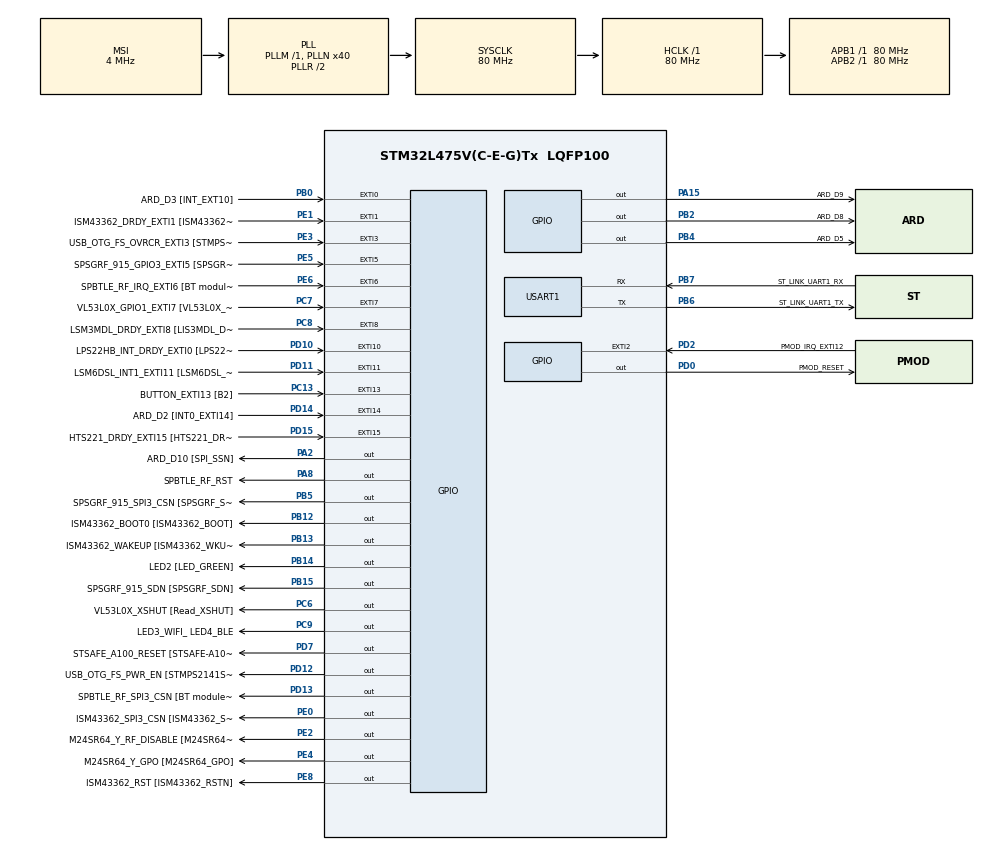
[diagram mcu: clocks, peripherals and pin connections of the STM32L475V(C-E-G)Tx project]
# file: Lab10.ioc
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FREERTOS.Queues01=myQueue,5,long,0,Dynamic,NULL,NULL
FREERTOS.Tasks01=Thread1,0,128,SenderThread,Default,(void *)&data1,Dynamic,NULL,NULL;Thread2,0,128,SenderThread,Default,(void *)&data2,Dynamic,NULL,NULL;Thread3,1,128,ReceiverThread,Default,NULL,Dynamic,NULL,NULL
Mcu.Family=STM32L4
Mcu.Name=STM32L475V(C-E-G)Tx
Mcu.Package=LQFP100
NVIC.EXTI15_10_IRQn=true\:5\:0\:false\:false\:true\:true\:true\:true
NVIC.EXTI9_5_IRQn=true\:5\:0\:false\:false\:true\:true\:true\:true
NVIC.PriorityGroup=NVIC_PRIORITYGROUP_4
PA0.GPIO_Label=ARD_D1 [UART4_TX]
PA0.Signal=UART4_TX
PA1.GPIO_Label=ARD_D0 [UART4_RX]
PA1.Signal=UART4_RX
PA10.GPIO_Label=USB_OTG_FS_ID
PA10.Signal=USB_OTG_FS_ID
PA11.GPIO_Label=USB_OTG_FS_DM
PA11.Signal=USB_OTG_FS_DM
PA12.GPIO_Label=USB_OTG_FS_DP
PA12.Signal=USB_OTG_FS_DP
PA13\ (JTMS-SWDIO).GPIO_Label=SYS_JTMS_SWDIO
PA13\ (JTMS-SWDIO).Mode=Serial_Wire
PA13\ (JTMS-SWDIO).Signal=SYS_JTMS-SWDIO
PA14\ (JTCK-SWCLK).GPIO_Label=SYS_JTCK_SWCLK
PA14\ (JTCK-SWCLK).Mode=Serial_Wire
PA14\ (JTCK-SWCLK).Signal=SYS_JTCK-SWCLK
PA15\ (JTDI).GPIO_Label=ARD_D9
PA15\ (JTDI).Signal=GPIO_Output
PA2.GPIO_Label=ARD_D10 [SPI_SSN]
PA2.Signal=GPIO_Output
PA3.GPIO_Label=ARD_D4
PA3.Signal=S_TIM2_CH4
PA4.GPIO_Label=ARD_D7
PA4.Signal=ADCx_IN9
PA5.GPIO_Label=ARD_D13 [SPI1_SCK]
PA5.Signal=SPI1_SCK
PA6.GPIO_Label=ARD_D12 [SPI1_MISO]
PA6.Signal=SPI1_MISO
PA7.GPIO_Label=ARD_D11 [SPI1_MOSI]
PA7.Signal=SPI1_MOSI
PA8.GPIO_Label=SPBTLE_RF_RST
PA8.Signal=GPIO_Output
PA9.GPIO_Label=USB_OTG_FS_VBUS [STMPS2141STR_OUT]
PA9.Signal=USB_OTG_FS_VBUS
PB0.GPIO_Label=ARD_D3 [INT_EXT10]
PB0.Signal=GPXTI0
PB1.GPIO_Label=ARD_D6 [ADC1_IN6]
PB1.Signal=ADCx_IN16
PB10.GPIO_Label=INTERNAL_I2C2_SCL [VL53L0X_SCL]
PB10.Signal=I2C2_SCL
PB11.GPIO_Label=INTERNAL_I2C2_SDA [VL53L0X_SDA]
PB11.Signal=I2C2_SDA
PB12.GPIO_Label=ISM43362_BOOT0 [ISM43362_BOOT]
PB12.Signal=GPIO_Output
PB13.GPIO_Label=ISM43362_WAKEUP [ISM43362_WKUP]
PB13.Signal=GPIO_Output
PB14.GPIO_Label=LED2 [LED_GREEN]
PB14.Signal=GPIO_Output
PB15.GPIO_Label=SPSGRF_915_SDN [SPSGRF_SDN]
PB15.Signal=GPIO_Output
PB2.GPIO_Label=ARD_D8
PB2.Signal=GPIO_Output
PB3\ (JTDO-TRACESWO).GPIO_Label=SYS_JTD0_SWO
PB3\ (JTDO-TRACESWO).Signal=SYS_JTDO-SWO
PB4\ (NJTRST).GPIO_Label=ARD_D5
PB4\ (NJTRST).Signal=GPIO_Output
PB5.GPIO_Label=SPSGRF_915_SPI3_CSN [SPSGRF_SPI_CS]
PB5.PinState=GPIO_PIN_SET
PB5.Signal=GPIO_Output
PB6.GPIO_Label=ST_LINK_UART1_TX
PB6.Mode=Asynchronous
PB6.Signal=USART1_TX
PB7.GPIO_Label=ST_LINK_UART1_RX
PB7.Mode=Asynchronous
PB7.Signal=USART1_RX
PB8.GPIO_Label=ARD_D15 [I2C1_SCL]
PB8.Signal=I2C1_SCL
PB9.GPIO_Label=ARD_D14 [I2C1_SDA]
PB9.Signal=I2C1_SDA
PC0.GPIO_Label=ARD_A5 [ADC]
PC0.Signal=ADCx_IN1
PC1.GPIO_Label=ARD_A4 [ADC]
PC1.Signal=ADCx_IN2
PC10.GPIO_Label=INTERNAL_SPI3_SCK [BT module_SPI_SCLK] [ISM43362_SCK]
PC10.Signal=SPI3_SCK
PC11.GPIO_Label=INTERNAL_SPI3_MISO [BT module_SPI_MISO] [ISM43362_MISO]
PC11.Signal=SPI3_MISO
PC12.GPIO_Label=INTERNAL_SPI3_MOSI [BT module_SPI_MOSI] [ISM43362_MOSI]
PC12.Signal=SPI3_MOSI
PC13.GPIO_Label=BUTTON_EXTI13 [B2]
PC13.GPIO_ModeDefaultEXTI=GPIO_MODE_IT_FALLING
PC13.Signal=GPXTI13
PC14-OSC32_IN\ (PC14).Signal=RCC_OSC32_IN
PC15-OSC32_OUT\ (PC15).Signal=RCC_OSC32_OUT
PC2.GPIO_Label=ARD_A3 [ADC]
PC2.Signal=ADCx_IN3
PC3.GPIO_Label=ARD_A2 [ADC]
PC3.Signal=ADCx_IN4
PC4.GPIO_Label=ARD_A1 [ADC]
PC4.Signal=ADCx_IN13
PC5.GPIO_Label=ARD_A0 [ADC]
PC5.Signal=ADCx_IN14
PC6.GPIO_Label=VL53L0X_XSHUT [Read_XSHUT]
PC6.Signal=GPIO_Output
PC7.GPIO_Label=VL53L0X_GPIO1_EXTI7 [VL53L0X_GPIO1]
PC7.Signal=GPXTI7
PC8.GPIO_Label=LSM3MDL_DRDY_EXTI8 [LIS3MDL_DRDY]
PC8.Signal=GPXTI8
PC9.GPIO_Label=LED3_WIFI_ LED4_BLE
PC9.Signal=GPIO_Output
PD0.GPIO_Label=PMOD_RESET
PD0.Signal=GPIO_Output
PD1.GPIO_Label=PMOD_SPI2_SCK
PD1.Signal=SPI2_SCK
PD10.GPIO_Label=LPS22HB_INT_DRDY_EXTI0 [LPS22HB_INT_DRDY] 
PD10.Signal=GPXTI10
PD11.GPIO_Label=LSM6DSL_INT1_EXTI11 [LSM6DSL_INT1]
PD11.Signal=GPXTI11
PD12.GPIO_Label=USB_OTG_FS_PWR_EN [STMPS2141STR_EN]
PD12.Signal=GPIO_Output
PD13.GPIO_Label=SPBTLE_RF_SPI3_CSN [BT module_SPI_CS]
PD13.PinState=GPIO_PIN_SET
PD13.Signal=GPIO_Output
PD14.GPIO_Label=ARD_D2 [INT0_EXTI14]
PD14.Signal=GPXTI14
PD15.GPIO_Label=HTS221_DRDY_EXTI15 [HTS221_DRDY]
PD15.Signal=GPXTI15
PD2.GPIO_Label=PMOD_IRQ_EXTI12
PD2.Signal=GPXTI2
PD3.GPIO_Label=PMOD_UART2_CTS
PD3.Signal=USART2_CTS
PD4.GPIO_Label=PMOD_UART2_RTS
PD4.Signal=USART2_RTS
PD5.GPIO_Label=PMOD_UART2_TX
PD5.Signal=USART2_TX
PD6.GPIO_Label=PMOD_UART2_RX
PD6.Signal=USART2_RX
PD7.GPIO_Label=STSAFE_A100_RESET [STSAFE-A100_RESET]
PD7.Signal=GPIO_Output
PD8.GPIO_Label=INTERNAL_UART3_TX [ISM43362_RX]
PD8.Signal=USART3_TX
PD9.GPIO_Label=INTERNAL_UART3_RX [ISM43362_TX]
PD9.Signal=USART3_RX
PE0.GPIO_Label=ISM43362_SPI3_CSN [ISM43362_SSN]
PE0.PinState=GPIO_PIN_SET
PE0.Signal=GPIO_Output
PE1.GPIO_Label=ISM43362_DRDY_EXTI1 [ISM43362_DATARDY]
PE1.Signal=GPXTI1
PE10.GPIO_Label=QUADSPI_CLK [MX25R6435F_SCLK]
PE10.Signal=QUADSPI_CLK
PE11.GPIO_Label=QUADSPI_NCS [MX25R6435F_SCLK]
PE11.Signal=QUADSPI_NCS
PE12.GPIO_Label=OQUADSPI_BK1_IO0 [MX25R6435F_IO0]
PE12.Signal=QUADSPI_BK1_IO0
PE13.GPIO_Label=QUADSPI_BK1_IO1 [MX25R6435F_IO1]
PE13.Signal=QUADSPI_BK1_IO1
PE14.GPIO_Label=QUAD_SPI_BK1_IO2 [MX25R6435F_IO2]
PE14.Signal=QUADSPI_BK1_IO2
PE15.GPIO_Label=QUAD_SPI_BK1_IO3 [MX25R6435F_IO3]
PE15.Signal=QUADSPI_BK1_IO3
PE2.GPIO_Label=M24SR64_Y_RF_DISABLE [M24SR64_RFDIS]
PE2.Signal=GPIO_Output
PE3.GPIO_Label=USB_OTG_FS_OVRCR_EXTI3 [STMPS2141STR_FAULT]
PE3.Signal=GPXTI3
PE4.GPIO_Label=M24SR64_Y_GPO [M24SR64_GPO]
PE4.Signal=GPIO_Output
PE5.GPIO_Label=SPSGRF_915_GPIO3_EXTI5 [SPSGRF_GPIO_3]
PE5.Signal=GPXTI5
PE6.GPIO_Label=SPBTLE_RF_IRQ_EXTI6 [BT module_SPI_IRQ]
PE6.Signal=GPXTI6
PE7.GPIO_Label=DFSDM1_DATIN2 [MP34DT01_DOUT]
PE7.Signal=S_DATAIN2DFSDM1
PE8.GPIO_Label=ISM43362_RST [ISM43362_RSTN]
PE8.Signal=GPIO_Output
PE9.GPIO_Label=DFSDM1_CKOUT [MP34DT01_CLK]
PE9.Signal=S_CKOUTDFSDM1
ProjectManager.HeapSize=0x200
ProjectManager.StackSize=0x400
ProjectManager.TargetToolchain=MDK-ARM V5.27
RCC.ADCFreq_Value=48000000
RCC.AHBFreq_Value=80000000
RCC.APB1Freq_Value=80000000
RCC.APB1TimFreq_Value=80000000
RCC.APB2Freq_Value=80000000
RCC.APB2TimFreq_Value=80000000
RCC.CortexFreq_Value=80000000
RCC.HCLKFreq_Value=80000000
RCC.HSE_VALUE=8000000
RCC.HSI_VALUE=16000000
RCC.LSE_VALUE=32768
RCC.MSI_VALUE=4000000
RCC.PLLN=40
RCC.PLLSAI1N=24
RCC.SYSCLKFreq_VALUE=80000000
RCC.SYSCLKSource=RCC_SYSCLKSOURCE_PLLCLK
RCC.USBFreq_Value=48000000
RCC.VCOOutputFreq_Value=160000000
SH.ADCx_IN1.0=ADC1_IN1
SH.ADCx_IN13.0=ADC1_IN13
SH.ADCx_IN14.0=ADC1_IN14
SH.ADCx_IN16.0=ADC1_IN16
SH.ADCx_IN2.0=ADC1_IN2
SH.ADCx_IN3.0=ADC1_IN3
SH.ADCx_IN4.0=ADC1_IN4
SH.ADCx_IN9.0=ADC1_IN9
SH.S_CKOUTDFSDM1.0=DFSDM1_CKOUT
SH.S_DATAIN2DFSDM1.0=DFSDM1_DATIN2
SH.S_TIM2_CH4.0=TIM2_CH4
USART1.VirtualMode-Asynchronous=VM_ASYNC
VP_FREERTOS_VS_CMSIS_V1.Mode=CMSIS_V1
board=B-L475E-IOT01A1

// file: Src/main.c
/* USER CODE BEGIN Header */
/**
  ******************************************************************************
  * @file           : main.c
  * @brief          : Main program body
  ******************************************************************************
  * @attention
  *
  * <h2><center>&copy; Copyright (c) 2020 STMicroelectronics.
  * All rights reserved.</center></h2>
  *
  * This software component is licensed by ST under Ultimate Liberty license
  * SLA0044, the "License"; You may not use this file except in compliance with
  * the License. You may obtain a copy of the License at:
  *                             www.st.com/SLA0044
  *
  ******************************************************************************
  */
/* USER CODE END Header */

#include "main.h"
#include "cmsis_os.h"

/* USER CODE BEGIN Includes */
#include "stdio.h"
/* USER CODE END Includes */

UART_HandleTypeDef huart1;

osThreadId Thread1Handle;
osThreadId Thread2Handle;
osThreadId Thread3Handle;
osMessageQId myQueueHandle;
/* USER CODE BEGIN PV */
long data1 = 100;
long data2 = 200;
/* USER CODE END PV */

void SystemClock_Config(void);
static void MX_GPIO_Init(void);
static void MX_USART1_UART_Init(void);
void SenderThread(void const * argument);
void ReceiverThread(void const * argument);

/* USER CODE BEGIN PFP */
#ifdef __GNUC__
#define PUTCHAR_PROTOTYPE int __io_putchar(int ch)
#else
#define PUTCHAR_PROTOTYPE int fputc(int ch, FILE *f)
#endif /* __GNUC__ */
/* USER CODE END PFP */

/* USER CODE BEGIN 0 */
PUTCHAR_PROTOTYPE
{
  /* e.g. write a character to the USART1 and Loop until the end of transmission */
  HAL_UART_Transmit(&huart1, (uint8_t *)&ch, 1, 0xFFFF);

  return ch;
}
/* USER CODE END 0 */

int main(void)
{

  /* MCU Configuration--------------------------------------------------------*/

  /* Reset of all peripherals, Initializes the Flash interface and the Systick. */
  HAL_Init();

  /* Configure the system clock */
  SystemClock_Config();

  /* Initialize all configured peripherals */
  MX_GPIO_Init();
  MX_USART1_UART_Init();
  /* USER CODE BEGIN 2 */
	printf("\n\rFreeRTOS Lab 10\n\r");
  /* USER CODE END 2 */

  /* Create the queue(s) */
  /* definition and creation of myQueue */
  osMessageQDef(myQueue, 5, long);
  myQueueHandle = osMessageCreate(osMessageQ(myQueue), NULL);

  /* Create the thread(s) */
  /* definition and creation of Thread1 */
  osThreadDef(Thread1, SenderThread, osPriorityNormal, 0, 128);
  Thread1Handle = osThreadCreate(osThread(Thread1), (void *)&data1);

  /* definition and creation of Thread2 */
  osThreadDef(Thread2, SenderThread, osPriorityNormal, 0, 128);
  Thread2Handle = osThreadCreate(osThread(Thread2), (void *)&data2);

  /* definition and creation of Thread3 */
  osThreadDef(Thread3, ReceiverThread, osPriorityAboveNormal, 0, 128);
  Thread3Handle = osThreadCreate(osThread(Thread3), NULL);

  /* Start scheduler */
  osKernelStart();

  /* We should never get here as control is now taken by the scheduler */
  /* Infinite loop */
  while (1)
  {

  }
}

void SystemClock_Config(void)
{
  RCC_OscInitTypeDef RCC_OscInitStruct = {0};
  RCC_ClkInitTypeDef RCC_ClkInitStruct = {0};
  RCC_PeriphCLKInitTypeDef PeriphClkInit = {0};

  /** Initializes the CPU, AHB and APB busses clocks
  */
  RCC_OscInitStruct.OscillatorType = RCC_OSCILLATORTYPE_MSI;
  RCC_OscInitStruct.MSIState = RCC_MSI_ON;
  RCC_OscInitStruct.MSICalibrationValue = 0;
  RCC_OscInitStruct.MSIClockRange = RCC_MSIRANGE_6;
  RCC_OscInitStruct.PLL.PLLState = RCC_PLL_ON;
  RCC_OscInitStruct.PLL.PLLSource = RCC_PLLSOURCE_MSI;
  RCC_OscInitStruct.PLL.PLLM = 1;
  RCC_OscInitStruct.PLL.PLLN = 40;
  RCC_OscInitStruct.PLL.PLLP = RCC_PLLP_DIV7;
  RCC_OscInitStruct.PLL.PLLQ = RCC_PLLQ_DIV2;
  RCC_OscInitStruct.PLL.PLLR = RCC_PLLR_DIV2;
  if (HAL_RCC_OscConfig(&RCC_OscInitStruct) != HAL_OK)
  {
    Error_Handler();
  }
  /** Initializes the CPU, AHB and APB busses clocks
  */
  RCC_ClkInitStruct.ClockType = RCC_CLOCKTYPE_HCLK|RCC_CLOCKTYPE_SYSCLK
                              |RCC_CLOCKTYPE_PCLK1|RCC_CLOCKTYPE_PCLK2;
  RCC_ClkInitStruct.SYSCLKSource = RCC_SYSCLKSOURCE_PLLCLK;
  RCC_ClkInitStruct.AHBCLKDivider = RCC_SYSCLK_DIV1;
  RCC_ClkInitStruct.APB1CLKDivider = RCC_HCLK_DIV1;
  RCC_ClkInitStruct.APB2CLKDivider = RCC_HCLK_DIV1;

  if (HAL_RCC_ClockConfig(&RCC_ClkInitStruct, FLASH_LATENCY_4) != HAL_OK)
  {
    Error_Handler();
  }
  PeriphClkInit.PeriphClockSelection = RCC_PERIPHCLK_USART1;
  PeriphClkInit.Usart1ClockSelection = RCC_USART1CLKSOURCE_PCLK2;
  if (HAL_RCCEx_PeriphCLKConfig(&PeriphClkInit) != HAL_OK)
  {
    Error_Handler();
  }
  /** Configure the main internal regulator output voltage
  */
  if (HAL_PWREx_ControlVoltageScaling(PWR_REGULATOR_VOLTAGE_SCALE1) != HAL_OK)
  {
    Error_Handler();
  }
}

static void MX_USART1_UART_Init(void)
{

  huart1.Instance = USART1;
  huart1.Init.BaudRate = 115200;
  huart1.Init.WordLength = UART_WORDLENGTH_8B;
  huart1.Init.StopBits = UART_STOPBITS_1;
  huart1.Init.Parity = UART_PARITY_NONE;
  huart1.Init.Mode = UART_MODE_TX_RX;
  huart1.Init.HwFlowCtl = UART_HWCONTROL_NONE;
  huart1.Init.OverSampling = UART_OVERSAMPLING_16;
  huart1.Init.OneBitSampling = UART_ONE_BIT_SAMPLE_DISABLE;
  huart1.AdvancedInit.AdvFeatureInit = UART_ADVFEATURE_NO_INIT;
  if (HAL_UART_Init(&huart1) != HAL_OK)
  {
    Error_Handler();
  }

}

static void MX_GPIO_Init(void)
{
  GPIO_InitTypeDef GPIO_InitStruct = {0};

  /* GPIO Ports Clock Enable */
  __HAL_RCC_GPIOE_CLK_ENABLE();
  __HAL_RCC_GPIOC_CLK_ENABLE();
  __HAL_RCC_GPIOA_CLK_ENABLE();
  __HAL_RCC_GPIOB_CLK_ENABLE();
  __HAL_RCC_GPIOD_CLK_ENABLE();

  /*Configure GPIO pin Output Level */
  HAL_GPIO_WritePin(GPIOE, M24SR64_Y_RF_DISABLE_Pin|M24SR64_Y_GPO_Pin|ISM43362_RST_Pin, GPIO_PIN_RESET);

  /*Configure GPIO pin Output Level */
  HAL_GPIO_WritePin(GPIOA, ARD_D10_Pin|SPBTLE_RF_RST_Pin|ARD_D9_Pin, GPIO_PIN_RESET);

  /*Configure GPIO pin Output Level */
  HAL_GPIO_WritePin(GPIOB, ARD_D8_Pin|ISM43362_BOOT0_Pin|ISM43362_WAKEUP_Pin|LED2_Pin
                          |SPSGRF_915_SDN_Pin|ARD_D5_Pin, GPIO_PIN_RESET);

  /*Configure GPIO pin Output Level */
  HAL_GPIO_WritePin(GPIOD, USB_OTG_FS_PWR_EN_Pin|PMOD_RESET_Pin|STSAFE_A100_RESET_Pin, GPIO_PIN_RESET);

  /*Configure GPIO pin Output Level */
  HAL_GPIO_WritePin(SPBTLE_RF_SPI3_CSN_GPIO_Port, SPBTLE_RF_SPI3_CSN_Pin, GPIO_PIN_SET);

  /*Configure GPIO pin Output Level */
  HAL_GPIO_WritePin(GPIOC, VL53L0X_XSHUT_Pin|LED3_WIFI__LED4_BLE_Pin, GPIO_PIN_RESET);

  /*Configure GPIO pin Output Level */
  HAL_GPIO_WritePin(SPSGRF_915_SPI3_CSN_GPIO_Port, SPSGRF_915_SPI3_CSN_Pin, GPIO_PIN_SET);

  /*Configure GPIO pin Output Level */
  HAL_GPIO_WritePin(ISM43362_SPI3_CSN_GPIO_Port, ISM43362_SPI3_CSN_Pin, GPIO_PIN_SET);

  /*Configure GPIO pins : M24SR64_Y_RF_DISABLE_Pin M24SR64_Y_GPO_Pin ISM43362_RST_Pin ISM43362_SPI3_CSN_Pin */
  GPIO_InitStruct.Pin = M24SR64_Y_RF_DISABLE_Pin|M24SR64_Y_GPO_Pin|ISM43362_RST_Pin|ISM43362_SPI3_CSN_Pin;
  GPIO_InitStruct.Mode = GPIO_MODE_OUTPUT_PP;
  GPIO_InitStruct.Pull = GPIO_NOPULL;
  GPIO_InitStruct.Speed = GPIO_SPEED_FREQ_LOW;
  HAL_GPIO_Init(GPIOE, &GPIO_InitStruct);

  /*Configure GPIO pins : USB_OTG_FS_OVRCR_EXTI3_Pin SPSGRF_915_GPIO3_EXTI5_Pin SPBTLE_RF_IRQ_EXTI6_Pin ISM43362_DRDY_EXTI1_Pin */
  GPIO_InitStruct.Pin = USB_OTG_FS_OVRCR_EXTI3_Pin|SPSGRF_915_GPIO3_EXTI5_Pin|SPBTLE_RF_IRQ_EXTI6_Pin|ISM43362_DRDY_EXTI1_Pin;
  GPIO_InitStruct.Mode = GPIO_MODE_IT_RISING;
  GPIO_InitStruct.Pull = GPIO_NOPULL;
  HAL_GPIO_Init(GPIOE, &GPIO_InitStruct);

  /*Configure GPIO pin : BUTTON_EXTI13_Pin */
  GPIO_InitStruct.Pin = BUTTON_EXTI13_Pin;
  GPIO_InitStruct.Mode = GPIO_MODE_IT_FALLING;
  GPIO_InitStruct.Pull = GPIO_NOPULL;
  HAL_GPIO_Init(BUTTON_EXTI13_GPIO_Port, &GPIO_InitStruct);

  /*Configure GPIO pins : ARD_A5_Pin ARD_A4_Pin ARD_A3_Pin ARD_A2_Pin
                           ARD_A1_Pin ARD_A0_Pin */
  GPIO_InitStruct.Pin = ARD_A5_Pin|ARD_A4_Pin|ARD_A3_Pin|ARD_A2_Pin
                          |ARD_A1_Pin|ARD_A0_Pin;
  GPIO_InitStruct.Mode = GPIO_MODE_ANALOG_ADC_CONTROL;
  GPIO_InitStruct.Pull = GPIO_NOPULL;
  HAL_GPIO_Init(GPIOC, &GPIO_InitStruct);

  /*Configure GPIO pins : ARD_D1_Pin ARD_D0_Pin */
  GPIO_InitStruct.Pin = ARD_D1_Pin|ARD_D0_Pin;
  GPIO_InitStruct.Mode = GPIO_MODE_AF_PP;
  GPIO_InitStruct.Pull = GPIO_NOPULL;
  GPIO_InitStruct.Speed = GPIO_SPEED_FREQ_VERY_HIGH;
  GPIO_InitStruct.Alternate = GPIO_AF8_UART4;
  HAL_GPIO_Init(GPIOA, &GPIO_InitStruct);

  /*Configure GPIO pins : ARD_D10_Pin SPBTLE_RF_RST_Pin ARD_D9_Pin */
  GPIO_InitStruct.Pin = ARD_D10_Pin|SPBTLE_RF_RST_Pin|ARD_D9_Pin;
  GPIO_InitStruct.Mode = GPIO_MODE_OUTPUT_PP;
  GPIO_InitStruct.Pull = GPIO_NOPULL;
  GPIO_InitStruct.Speed = GPIO_SPEED_FREQ_LOW;
  HAL_GPIO_Init(GPIOA, &GPIO_InitStruct);

  /*Configure GPIO pin : ARD_D4_Pin */
  GPIO_InitStruct.Pin = ARD_D4_Pin;
  GPIO_InitStruct.Mode = GPIO_MODE_AF_PP;
  GPIO_InitStruct.Pull = GPIO_NOPULL;
  GPIO_InitStruct.Speed = GPIO_SPEED_FREQ_LOW;
  GPIO_InitStruct.Alternate = GPIO_AF1_TIM2;
  HAL_GPIO_Init(ARD_D4_GPIO_Port, &GPIO_InitStruct);

  /*Configure GPIO pin : ARD_D7_Pin */
  GPIO_InitStruct.Pin = ARD_D7_Pin;
  GPIO_InitStruct.Mode = GPIO_MODE_ANALOG_ADC_CONTROL;
  GPIO_InitStruct.Pull = GPIO_NOPULL;
  HAL_GPIO_Init(ARD_D7_GPIO_Port, &GPIO_InitStruct);

  /*Configure GPIO pins : ARD_D13_Pin ARD_D12_Pin ARD_D11_Pin */
  GPIO_InitStruct.Pin = ARD_D13_Pin|ARD_D12_Pin|ARD_D11_Pin;
  GPIO_InitStruct.Mode = GPIO_MODE_AF_PP;
  GPIO_InitStruct.Pull = GPIO_NOPULL;
  GPIO_InitStruct.Speed = GPIO_SPEED_FREQ_VERY_HIGH;
  GPIO_InitStruct.Alternate = GPIO_AF5_SPI1;
  HAL_GPIO_Init(GPIOA, &GPIO_InitStruct);

  /*Configure GPIO pin : ARD_D3_Pin */
  GPIO_InitStruct.Pin = ARD_D3_Pin;
  GPIO_InitStruct.Mode = GPIO_MODE_IT_RISING;
  GPIO_InitStruct.Pull = GPIO_NOPULL;
  HAL_GPIO_Init(ARD_D3_GPIO_Port, &GPIO_InitStruct);

  /*Configure GPIO pin : ARD_D6_Pin */
  GPIO_InitStruct.Pin = ARD_D6_Pin;
  GPIO_InitStruct.Mode = GPIO_MODE_ANALOG_ADC_CONTROL;
  GPIO_InitStruct.Pull = GPIO_NOPULL;
  HAL_GPIO_Init(ARD_D6_GPIO_Port, &GPIO_InitStruct);

  /*Configure GPIO pins : ARD_D8_Pin ISM43362_BOOT0_Pin ISM43362_WAKEUP_Pin LED2_Pin
                           SPSGRF_915_SDN_Pin ARD_D5_Pin SPSGRF_915_SPI3_CSN_Pin */
  GPIO_InitStruct.Pin = ARD_D8_Pin|ISM43362_BOOT0_Pin|ISM43362_WAKEUP_Pin|LED2_Pin
                          |SPSGRF_915_SDN_Pin|ARD_D5_Pin|SPSGRF_915_SPI3_CSN_Pin;
  GPIO_InitStruct.Mode = GPIO_MODE_OUTPUT_PP;
  GPIO_InitStruct.Pull = GPIO_NOPULL;
  GPIO_InitStruct.Speed = GPIO_SPEED_FREQ_LOW;
  HAL_GPIO_Init(GPIOB, &GPIO_InitStruct);

  /*Configure GPIO pins : DFSDM1_DATIN2_Pin DFSDM1_CKOUT_Pin */
  GPIO_InitStruct.Pin = DFSDM1_DATIN2_Pin|DFSDM1_CKOUT_Pin;
  GPIO_InitStruct.Mode = GPIO_MODE_AF_PP;
  GPIO_InitStruct.Pull = GPIO_NOPULL;
  GPIO_InitStruct.Speed = GPIO_SPEED_FREQ_LOW;
  GPIO_InitStruct.Alternate = GPIO_AF6_DFSDM1;
  HAL_GPIO_Init(GPIOE, &GPIO_InitStruct);

  /*Configure GPIO pins : QUADSPI_CLK_Pin QUADSPI_NCS_Pin OQUADSPI_BK1_IO0_Pin QUADSPI_BK1_IO1_Pin
                           QUAD_SPI_BK1_IO2_Pin QUAD_SPI_BK1_IO3_Pin */
  GPIO_InitStruct.Pin = QUADSPI_CLK_Pin|QUADSPI_NCS_Pin|OQUADSPI_BK1_IO0_Pin|QUADSPI_BK1_IO1_Pin
                          |QUAD_SPI_BK1_IO2_Pin|QUAD_SPI_BK1_IO3_Pin;
  GPIO_InitStruct.Mode = GPIO_MODE_AF_PP;
  GPIO_InitStruct.Pull = GPIO_NOPULL;
  GPIO_InitStruct.Speed = GPIO_SPEED_FREQ_VERY_HIGH;
  GPIO_InitStruct.Alternate = GPIO_AF10_QUADSPI;
  HAL_GPIO_Init(GPIOE, &GPIO_InitStruct);

  /*Configure GPIO pins : INTERNAL_I2C2_SCL_Pin INTERNAL_I2C2_SDA_Pin */
  GPIO_InitStruct.Pin = INTERNAL_I2C2_SCL_Pin|INTERNAL_I2C2_SDA_Pin;
  GPIO_InitStruct.Mode = GPIO_MODE_AF_OD;
  GPIO_InitStruct.Pull = GPIO_PULLUP;
  GPIO_InitStruct.Speed = GPIO_SPEED_FREQ_VERY_HIGH;
  GPIO_InitStruct.Alternate = GPIO_AF4_I2C2;
  HAL_GPIO_Init(GPIOB, &GPIO_InitStruct);

  /*Configure GPIO pins : INTERNAL_UART3_TX_Pin INTERNAL_UART3_RX_Pin */
  GPIO_InitStruct.Pin = INTERNAL_UART3_TX_Pin|INTERNAL_UART3_RX_Pin;
  GPIO_InitStruct.Mode = GPIO_MODE_AF_PP;
  GPIO_InitStruct.Pull = GPIO_NOPULL;
  GPIO_InitStruct.Speed = GPIO_SPEED_FREQ_VERY_HIGH;
  GPIO_InitStruct.Alternate = GPIO_AF7_USART3;
  HAL_GPIO_Init(GPIOD, &GPIO_InitStruct);

  /*Configure GPIO pins : LPS22HB_INT_DRDY_EXTI0_Pin LSM6DSL_INT1_EXTI11_Pin ARD_D2_Pin HTS221_DRDY_EXTI15_Pin
                           PMOD_IRQ_EXTI12_Pin */
  GPIO_InitStruct.Pin = LPS22HB_INT_DRDY_EXTI0_Pin|LSM6DSL_INT1_EXTI11_Pin|ARD_D2_Pin|HTS221_DRDY_EXTI15_Pin
                          |PMOD_IRQ_EXTI12_Pin;
  GPIO_InitStruct.Mode = GPIO_MODE_IT_RISING;
  GPIO_InitStruct.Pull = GPIO_NOPULL;
  HAL_GPIO_Init(GPIOD, &GPIO_InitStruct);

  /*Configure GPIO pins : USB_OTG_FS_PWR_EN_Pin SPBTLE_RF_SPI3_CSN_Pin PMOD_RESET_Pin STSAFE_A100_RESET_Pin */
  GPIO_InitStruct.Pin = USB_OTG_FS_PWR_EN_Pin|SPBTLE_RF_SPI3_CSN_Pin|PMOD_RESET_Pin|STSAFE_A100_RESET_Pin;
  GPIO_InitStruct.Mode = GPIO_MODE_OUTPUT_PP;
  GPIO_InitStruct.Pull = GPIO_NOPULL;
  GPIO_InitStruct.Speed = GPIO_SPEED_FREQ_LOW;
  HAL_GPIO_Init(GPIOD, &GPIO_InitStruct);

  /*Configure GPIO pins : VL53L0X_XSHUT_Pin LED3_WIFI__LED4_BLE_Pin */
  GPIO_InitStruct.Pin = VL53L0X_XSHUT_Pin|LED3_WIFI__LED4_BLE_Pin;
  GPIO_InitStruct.Mode = GPIO_MODE_OUTPUT_PP;
  GPIO_InitStruct.Pull = GPIO_NOPULL;
  GPIO_InitStruct.Speed = GPIO_SPEED_FREQ_LOW;
  HAL_GPIO_Init(GPIOC, &GPIO_InitStruct);

  /*Configure GPIO pins : VL53L0X_GPIO1_EXTI7_Pin LSM3MDL_DRDY_EXTI8_Pin */
  GPIO_InitStruct.Pin = VL53L0X_GPIO1_EXTI7_Pin|LSM3MDL_DRDY_EXTI8_Pin;
  GPIO_InitStruct.Mode = GPIO_MODE_IT_RISING;
  GPIO_InitStruct.Pull = GPIO_NOPULL;
  HAL_GPIO_Init(GPIOC, &GPIO_InitStruct);

  /*Configure GPIO pin : USB_OTG_FS_VBUS_Pin */
  GPIO_InitStruct.Pin = USB_OTG_FS_VBUS_Pin;
  GPIO_InitStruct.Mode = GPIO_MODE_INPUT;
  GPIO_InitStruct.Pull = GPIO_NOPULL;
  HAL_GPIO_Init(USB_OTG_FS_VBUS_GPIO_Port, &GPIO_InitStruct);

  /*Configure GPIO pins : USB_OTG_FS_ID_Pin USB_OTG_FS_DM_Pin USB_OTG_FS_DP_Pin */
  GPIO_InitStruct.Pin = USB_OTG_FS_ID_Pin|USB_OTG_FS_DM_Pin|USB_OTG_FS_DP_Pin;
  GPIO_InitStruct.Mode = GPIO_MODE_AF_PP;
  GPIO_InitStruct.Pull = GPIO_NOPULL;
  GPIO_InitStruct.Speed = GPIO_SPEED_FREQ_VERY_HIGH;
  GPIO_InitStruct.Alternate = GPIO_AF10_OTG_FS;
  HAL_GPIO_Init(GPIOA, &GPIO_InitStruct);

  /*Configure GPIO pins : INTERNAL_SPI3_SCK_Pin INTERNAL_SPI3_MISO_Pin INTERNAL_SPI3_MOSI_Pin */
  GPIO_InitStruct.Pin = INTERNAL_SPI3_SCK_Pin|INTERNAL_SPI3_MISO_Pin|INTERNAL_SPI3_MOSI_Pin;
  GPIO_InitStruct.Mode = GPIO_MODE_AF_PP;
  GPIO_InitStruct.Pull = GPIO_NOPULL;
  GPIO_InitStruct.Speed = GPIO_SPEED_FREQ_VERY_HIGH;
  GPIO_InitStruct.Alternate = GPIO_AF6_SPI3;
  HAL_GPIO_Init(GPIOC, &GPIO_InitStruct);

  /*Configure GPIO pin : PMOD_SPI2_SCK_Pin */
  GPIO_InitStruct.Pin = PMOD_SPI2_SCK_Pin;
  GPIO_InitStruct.Mode = GPIO_MODE_AF_PP;
  GPIO_InitStruct.Pull = GPIO_NOPULL;
  GPIO_InitStruct.Speed = GPIO_SPEED_FREQ_VERY_HIGH;
  GPIO_InitStruct.Alternate = GPIO_AF5_SPI2;
  HAL_GPIO_Init(PMOD_SPI2_SCK_GPIO_Port, &GPIO_InitStruct);

  /*Configure GPIO pins : PMOD_UART2_CTS_Pin PMOD_UART2_RTS_Pin PMOD_UART2_TX_Pin PMOD_UART2_RX_Pin */
  GPIO_InitStruct.Pin = PMOD_UART2_CTS_Pin|PMOD_UART2_RTS_Pin|PMOD_UART2_TX_Pin|PMOD_UART2_RX_Pin;
  GPIO_InitStruct.Mode = GPIO_MODE_AF_PP;
  GPIO_InitStruct.Pull = GPIO_NOPULL;
  GPIO_InitStruct.Speed = GPIO_SPEED_FREQ_VERY_HIGH;
  GPIO_InitStruct.Alternate = GPIO_AF7_USART2;
  HAL_GPIO_Init(GPIOD, &GPIO_InitStruct);

  /*Configure GPIO pins : ARD_D15_Pin ARD_D14_Pin */
  GPIO_InitStruct.Pin = ARD_D15_Pin|ARD_D14_Pin;
  GPIO_InitStruct.Mode = GPIO_MODE_AF_OD;
  GPIO_InitStruct.Pull = GPIO_PULLUP;
  GPIO_InitStruct.Speed = GPIO_SPEED_FREQ_VERY_HIGH;
  GPIO_InitStruct.Alternate = GPIO_AF4_I2C1;
  HAL_GPIO_Init(GPIOB, &GPIO_InitStruct);

  /* EXTI interrupt init*/
  HAL_NVIC_SetPriority(EXTI9_5_IRQn, 5, 0);
  HAL_NVIC_EnableIRQ(EXTI9_5_IRQn);

  HAL_NVIC_SetPriority(EXTI15_10_IRQn, 5, 0);
  HAL_NVIC_EnableIRQ(EXTI15_10_IRQn);

}

void SenderThread(void const * argument)
{
  /* USER CODE BEGIN 5 */
	long *lValueToSend;
	lValueToSend = (long*) argument;
  /* Infinite loop */
  for(;;)
  {
    if(osMessagePut(myQueueHandle, *lValueToSend, 0) != osOK)
		{
			printf("\n\rCould not send to the Queue\n\r");
		}
  }
  /* USER CODE END 5 */
}

void ReceiverThread(void const * argument)
{
  /* USER CODE BEGIN ReceiverThread */
	osEvent event;
  /* Infinite loop */
  for(;;)
  {
    if(osMessageWaiting(myQueueHandle) != 0)
		{
			printf("\n\rQueue should have been empty\n\r");
		}
		event = osMessageGet(myQueueHandle, 100);
		if(event.status == osEventMessage)
		{
			printf("\n\rReceived = %ld\n\r", (long)event.value.v);
		}
		else
		{
			printf("\n\rCould not receive from the queue\n\r");
		}
  }
  /* USER CODE END ReceiverThread */
}

void Error_Handler(void)
{
}

/************************ (C) COPYRIGHT STMicroelectronics *****END OF FILE****/
